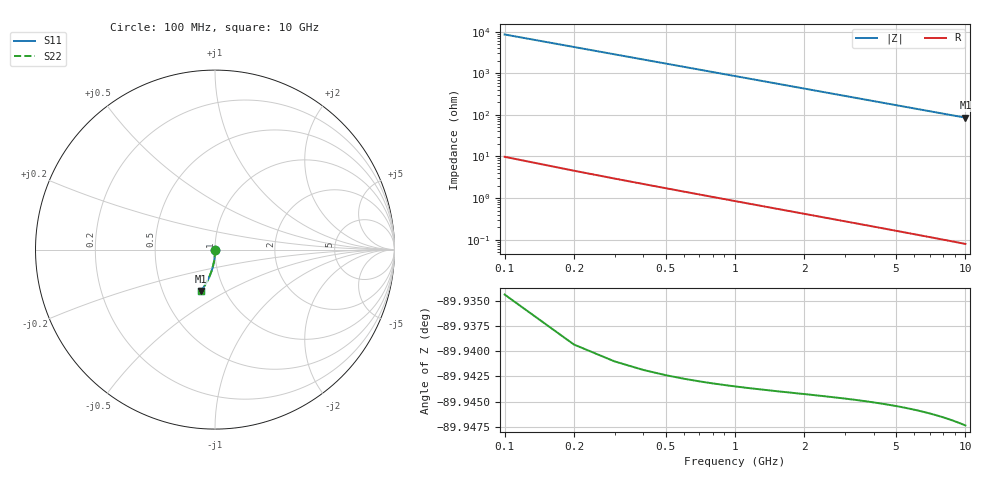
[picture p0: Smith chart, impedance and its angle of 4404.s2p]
# Hz S RI R 50.00
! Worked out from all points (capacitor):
!   100 points, 100 MHz to 10 GHz, reference 50 ohm
!   read as one part in shunt: C = 186 fF near 100 MHz
!   lowest |Z| = 85.7 ohm at 10 GHz (marker M1)
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1e8  0.000204 -0.00251  0.9998 -0.00332  0.9998 -0.00332  0.000204 -0.00251
2e8  0.000178 -0.00502  0.9997 -0.00664  0.9997 -0.00664  0.000178 -0.00502
3e8  0.000135 -0.00753  0.9997 -0.00996  0.9997 -0.00996  0.000135 -0.00753
4e8  7.42e-05 -0.01  0.9996 -0.0133  0.9996 -0.0133  7.42e-05 -0.01
5e8  -2.91e-06 -0.0126  0.9995 -0.0166  0.9995 -0.0166  -2.91e-06 -0.0126
6e8  -9.68e-05 -0.0151  0.9994 -0.0199  0.9994 -0.0199  -9.68e-05 -0.0151
7e8  -0.000207 -0.0176  0.9993 -0.0232  0.9993 -0.0232  -0.000207 -0.0176
8e8  -0.000335 -0.0201  0.9992 -0.0266  0.9992 -0.0266  -0.000335 -0.0201
9e8  -0.000479 -0.0226  0.999 -0.0299  0.999 -0.0299  -0.000479 -0.0226
1.1e9  -0.000817 -0.0276  0.9987 -0.0365  0.9987 -0.0365  -0.000817 -0.0276
1.4e9  -0.00145 -0.0351  0.998 -0.0465  0.998 -0.0465  -0.00145 -0.0351
1.8e9  -0.00252 -0.0451  0.9969 -0.0597  0.9969 -0.0597  -0.00252 -0.0451
2.1e9  -0.0035 -0.0525  0.9959 -0.0696  0.9959 -0.0696  -0.0035 -0.0525
2.5e9  -0.00504 -0.0625  0.9943 -0.0828  0.9943 -0.0828  -0.00504 -0.0625
2.9e9  -0.00684 -0.0723  0.9924 -0.0959  0.9924 -0.0959  -0.00684 -0.0723
3.4e9  -0.00945 -0.0846  0.9897 -0.1122  0.9897 -0.1122  -0.00945 -0.0846
4.2e9  -0.0145 -0.104  0.9845 -0.1381  0.9845 -0.1381  -0.0145 -0.104
5.1e9  -0.0213 -0.1253  0.9774 -0.1668  0.9774 -0.1668  -0.0213 -0.1253
5.9e9  -0.0284 -0.1439  0.97 -0.1919  0.97 -0.1919  -0.0284 -0.1439
6.7e9  -0.0364 -0.162  0.9616 -0.2166  0.9616 -0.2166  -0.0364 -0.162
8.4e9  -0.0564 -0.1986  0.9407 -0.2672  0.9407 -0.2672  -0.0564 -0.1986
1e10  -0.0785 -0.2305  0.9177 -0.3123  0.9177 -0.3123  -0.0785 -0.2305
